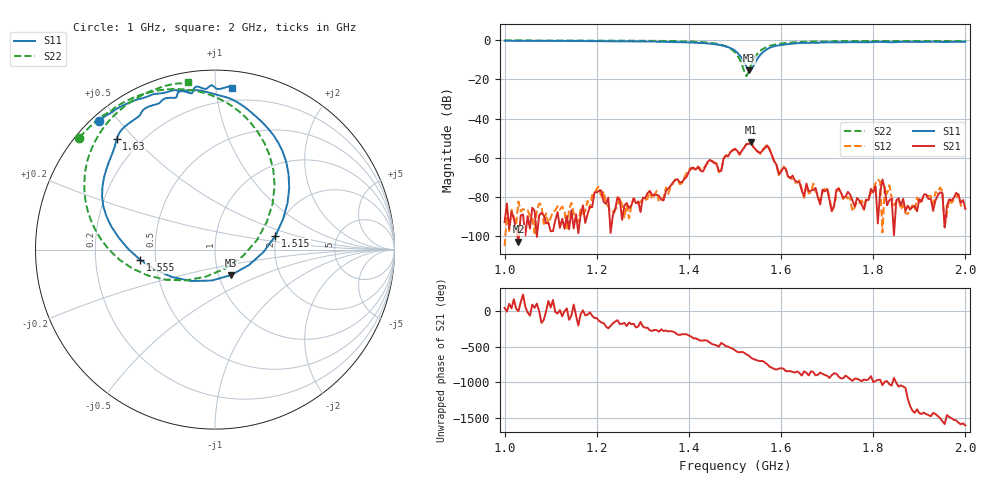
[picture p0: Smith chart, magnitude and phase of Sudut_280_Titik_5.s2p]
# Hz S RI R 50
! CMT, C1220, 16058040, 17.2.0/1
! Date: 14/08/2018 11:50:37
! Data: Format (Calibration Info)
! Freq  S11: Re/Im (F2)  S21: Re/Im (F2)  S12: Re/Im (F2)  S22: Re/Im (F2)
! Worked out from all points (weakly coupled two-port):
!   201 points, 1 GHz to 2 GHz, reference 50 ohm
!   highest |S21| = -52.11 dB at 1.535 GHz (marker M1); lowest = -102.9 dB at 1.03 GHz (marker M2)
!   lowest |S11| = -15.5 dB at 1.53 GHz (marker M3), VSWR 1.40, Z = 57.4 - j16.7 ohm
!   |S11| at or under -10 dB: 1.517 GHz to 1.547 GHz (30.7 MHz wide, 2 % of centre)
!   |S22| runs from -18.4 to -0.2 dB; largest |S21 - S12| = 0.00033
!   S11 on the Smith chart (normalised r, x): 1 GHz: 0.02, +0.44; 1.515 GHz: 1.97, +0.34; 1.555 GHz: 0.41, -0.06; 1.63 GHz: 0.12, +0.44; 2 GHz: 0.11, +1.11
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1e9  -0.6483 0.7146  1.66e-05 1.56e-05  -5.03e-06 2.32e-06  -0.7553 0.6239
1.03e9  -0.6219 0.7363  7.13e-06 -4.76e-07  4.4e-05 -6.26e-05  -0.735 0.6468
1.17e9  -0.4701 0.8217  6.03e-05 8.61e-06  1.1e-05 -3.54e-05  -0.6185 0.7503
1.335e9  -0.2079 0.8866  3.97e-05 9.8e-05  8.77e-06 7.66e-05  -0.4016 0.8655
1.405e9  -0.0136 0.869  0.000536 -5.63e-06  0.000557 -3.53e-05  -0.2078 0.8942
1.47e9  0.2949 0.6755  -4e-07 -0.00046  -8.59e-06 -0.000444  0.1638 0.7436
1.5e9  0.4135 0.3443  -0.00165 0.000388  -0.00156 0.000373  0.3323 0.3542
1.515e9  0.336 0.0756  -0.00125 0.000875  -0.00125 0.000829  0.2346 0.0546
1.53e9  0.091 -0.1414  -0.00014 0.00224  -0.000119 0.00226  -0.0476 -0.1496
1.535e9  -0.0178 -0.1723  0.00124 0.00215  0.00131 0.00217  -0.1607 -0.1718
1.555e9  -0.4173 -0.0565  0.00127 0.000332  0.00118 0.000405  -0.5315 -0.0568
1.57e9  -0.5757 0.1255  0.00177 -0.00102  0.0019 -0.00113  -0.6666 0.1091
1.595e9  -0.6194 0.3969  -1.34e-05 -0.00038  -5.92e-05 -0.000349  -0.7279 0.3427
1.63e9  -0.548 0.6145  -0.000215 -0.000147  -0.000195 -0.000127  -0.6956 0.542
1.65e9  -0.5002 0.6876  -6.56e-05 -8.2e-05  -1.78e-05 -9.22e-05  -0.6617 0.6152
1.67e9  -0.434 0.7345  -0.000117 -9.46e-05  -0.00021 -6.17e-05  -0.6269 0.6711
1.685e9  -0.413 0.7578  -5.32e-05 -3.56e-05  -5.48e-05 -5.74e-05  -0.6026 0.7035
1.79e9  -0.2122 0.8544  -4.3e-05 7.14e-05  -4.82e-05 8.4e-05  -0.4397 0.8406
1.81e9  -0.1954 0.882  -7.84e-06 1.95e-05  6.84e-05 0.000273  -0.412 0.8571
1.82e9  -0.1734 0.8816  0.000224 0.000167  4.61e-06 1.15e-05  -0.3982 0.8641
1.835e9  -0.1378 0.8713  5.41e-05 6.23e-05  0.00015 0.000129  -0.3785 0.874
2e9  0.0961 0.9026  -4.93e-05 -8.14e-06  -1.53e-05 -4.92e-05  -0.1526 0.9339
